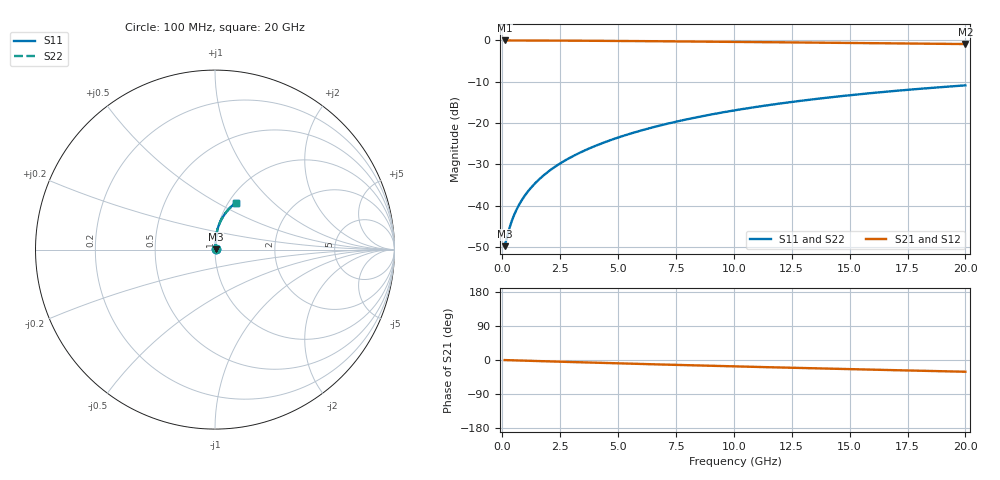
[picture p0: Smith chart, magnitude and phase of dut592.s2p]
! Touchstone file exported from HFSS 2024.1.0
!  File:  C:/UserFiles/LocalFiles/RDL_TSV_Batchsim/temp_RDL_bottom_592_1779691109.aedt
!  Generated:  02:41:05 PM May 25, 2026
!  Design:  RDL_bottom
!  Project:  temp_RDL_bottom_592_1779691109
!  Setup:  Setup1
!  Solution:  Sweep
! Variables:
!  dtsv = 10.80580581um
!  hbump = 3um
!  htsv = 93.26um
!  ldown = 433.57um
!  lrdl = 100um
!  p = 40
!  p1 = 45.01um
!  rhole = 1um
!  t = 450um
!  tdown = 2.61um
!  trdl = 3.915915916um
!  wdown = 22.47um
!  wrdl = 20um
# GHz S MA R 50.000000
! Terminal data exported
! Port[1] = RDL1_T1
! Port[2] = RDL1_T2
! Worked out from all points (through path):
!   200 points, 100 MHz to 20 GHz, reference 50 ohm
!   highest |S21| = -0.03 dB at 100 MHz (marker M1); lowest = -0.9 dB at 20 GHz (marker M2)
!   group delay of S21, straight-line fit = 4.27 ps
!   lowest |S11| = -49.8 dB at 100 MHz (marker M3), VSWR 1.01, Z = 50.3 + j0.146 ohm
!   |S11| at or under -10 dB: start of sweep to end of sweep
!   |S22| runs from -49.8 to -10.9 dB; largest |S21 - S12| = 2.1e-15
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0.1  0.003247 26.6  0.9971 -0.2  0.9971 -0.2  0.003247 26.6
! Gamma 0 0 0 0
! Port Impedance 50 0 50 0
0.3  0.005262 53.6  0.9968 -0.6  0.9968 -0.6  0.005262 53.6
0.4  0.006432 59.7  0.9967 -0.8  0.9967 -0.8  0.006432 59.7
0.5  0.007615 63.8  0.9965 -0.9  0.9965 -0.9  0.007615 63.8
0.6  0.0088 66.9  0.9963 -1.1  0.9963 -1.1  0.0088 66.9
0.8  0.01118 71.3  0.996 -1.5  0.996 -1.5  0.01118 71.3
1  0.01359 74.3  0.9957 -1.8  0.9957 -1.8  0.01359 74.3
1.2  0.01603 76.6  0.9954 -2.2  0.9954 -2.2  0.01603 76.6
1.4  0.01849 78.3  0.9951 -2.5  0.9951 -2.5  0.01849 78.3
1.7  0.02225 80.2  0.9946 -3.1  0.9946 -3.1  0.02225 80.2
2.2  0.02862 82.3  0.9935 -4.0  0.9935 -4.0  0.02862 82.2
2.8  0.03646 83.8  0.9919 -5.0  0.9919 -5.0  0.03646 83.7
3.5  0.04585 84.7  0.9896 -6.3  0.9896 -6.3  0.04585 84.7
4.2  0.0555 85.2  0.987 -7.5  0.987 -7.5  0.05549 85.1
5  0.06682 85.2  0.9837 -8.8  0.9837 -8.8  0.06681 85.2
6.8  0.09325 84.3  0.9752 -11.8  0.9752 -11.8  0.09323 84.3
8.4  0.1175 82.8  0.9669 -14.3  0.9669 -14.3  0.1174 82.7
10.1  0.1435 80.6  0.9577 -16.9  0.9577 -16.9  0.1435 80.6
11.7  0.1679 78.4  0.9489 -19.3  0.9489 -19.3  0.1678 78.3
13.4  0.1934 75.9  0.9394 -21.8  0.9394 -21.8  0.1934 75.8
16.7  0.2411 70.9  0.9209 -26.5  0.9209 -26.5  0.241 70.9
20  0.2856 66.0  0.9022 -31.0  0.9022 -31.0  0.2855 66.0
